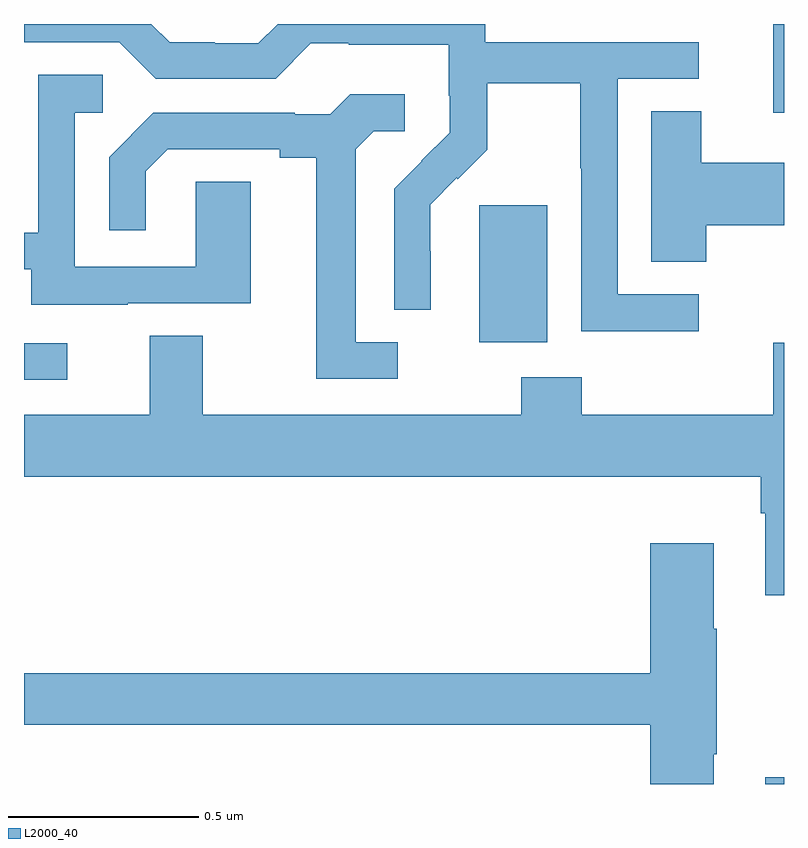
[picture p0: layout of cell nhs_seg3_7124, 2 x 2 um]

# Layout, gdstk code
import gdstk
lib = gdstk.Library(unit=1e-6, precision=1e-09)
def R(c, l, rs):  # rectangles x0, y0, x1, y1
    for r in rs: c.add(gdstk.rectangle(r[:2], r[2:], *l))
def P(c, l, *ps):  # polygons
    for p in ps: c.add(gdstk.Polygon(p, *l))
L2000_40 = (2000, 40)

nhs_seg3_7124 = lib.new_cell('nhs_seg3_7124')
R(nhs_seg3_7124, L2000_40, [(200.951,741.4,201,741.418), (199,742.464,199.114,742.56), (200.198,742.562,200.377,742.923), (200.972,743.166,201,743.4)])
P(nhs_seg3_7124, L2000_40, [(200.776,742.689),(200.562,742.689),(200.562,743.256),(200.776,743.256),(200.776,743.352),(200.214,743.352),(200.214,743.4),(199.668,743.4),(199.617,743.349),(199.502,743.349),(199.502,743.352),(199.383,743.352),(199.335,743.4),(199,743.4),(199,743.352),(199.251,743.352),(199.347,743.256),(199.662,743.256),(199.755,743.349),(199.855,743.349),(199.855,743.345),(200.118,743.345),(200.118,743.211),(200.12,743.211),(200.12,743.114),(200.046,743.04),(200.047,743.039),(199.974,742.966),(199.974,742.648),(200.07,742.648),(200.07,742.802),(200.069,742.802),(200.069,742.925),(200.139,742.995),(200.142,742.992),(200.219,743.069),(200.219,743.244),(200.464,743.244),(200.464,743.02),(200.466,743.02),(200.466,742.591),(200.776,742.591)],
  [(199.273,742.665),(199.597,742.665),(199.597,742.985),(199.452,742.985),(199.452,742.761),(199.134,742.761),(199.134,743.166),(199.207,743.166),(199.207,743.267),(199.038,743.267),(199.038,742.851),(199,742.851),(199,742.755),(199.019,742.755),(199.019,742.661),(199.273,742.661)],
  [(199.984,742.563),(199.873,742.563),(199.873,743.071),(199.92,743.118),(200.002,743.118),(200.002,743.215),(199.858,743.215),(199.806,743.163),(199.712,743.163),(199.712,743.166),(199.34,743.166),(199.224,743.05),(199.224,742.857),(199.321,742.857),(199.321,743.013),(199.378,743.07),(199.673,743.07),(199.673,743.048),(199.769,743.048),(199.769,742.467),(199.984,742.467)],
  [(200.795,742.87),(201,742.87),(201,743.035),(200.782,743.035),(200.782,743.171),(200.651,743.171),(200.651,742.774),(200.795,742.774)],
  [(201,742.561),(200.972,742.561),(200.972,742.372),(200.468,742.372),(200.468,742.471),(200.308,742.471),(200.308,742.372),(199.471,742.372),(199.471,742.58),(199.331,742.58),(199.331,742.372),(199,742.372),(199,742.208),(200.939,742.208),(200.939,742.112),(200.951,742.112),(200.951,741.897),(201,741.897)],
  [(200.815,741.478),(200.823,741.478),(200.823,741.809),(200.815,741.809),(200.815,742.033),(200.648,742.033),(200.648,741.692),(199,741.692),(199,741.556),(200.648,741.556),(200.648,741.4),(200.815,741.4)])

lib.write_gds('nhs_seg3_7124.gds')
